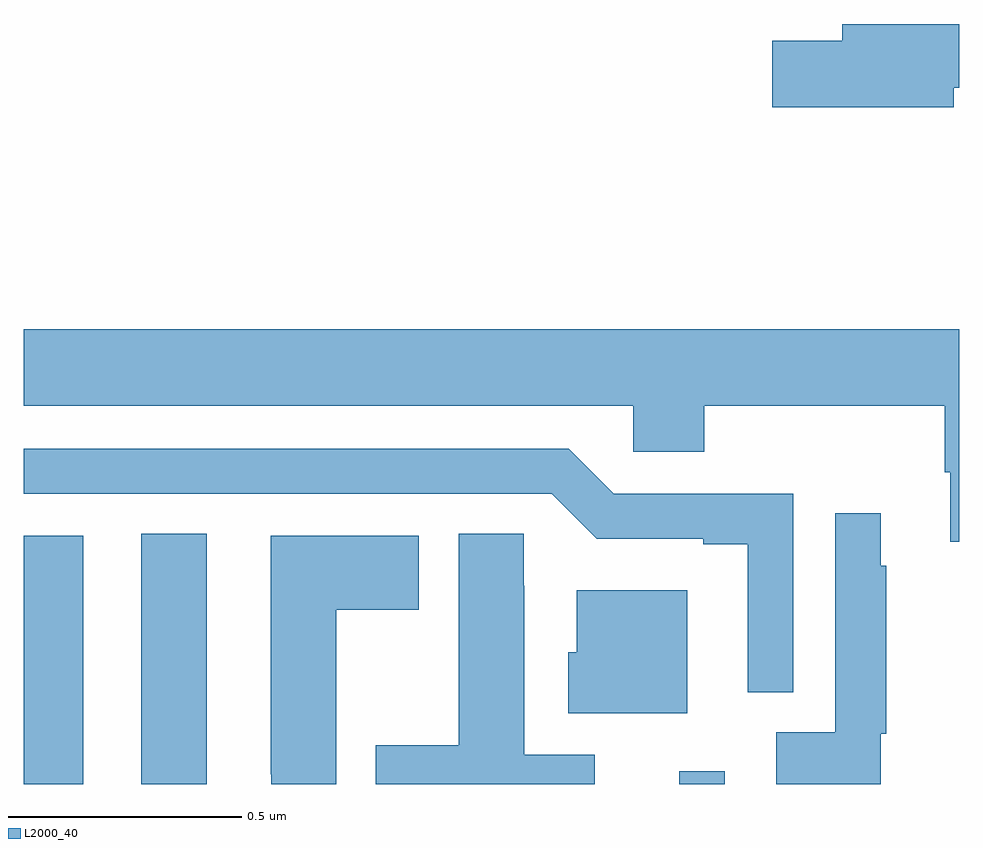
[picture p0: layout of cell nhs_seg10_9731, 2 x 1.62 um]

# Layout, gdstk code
import gdstk
lib = gdstk.Library(unit=1e-6, precision=1e-09)
def R(c, l, rs):  # rectangles x0, y0, x1, y1
    for r in rs: c.add(gdstk.rectangle(r[:2], r[2:], *l))
def P(c, l, *ps):  # polygons
    for p in ps: c.add(gdstk.Polygon(p, *l))
L2000_40 = (2000, 40)

nhs_seg10_9731 = lib.new_cell('nhs_seg10_9731')
R(nhs_seg10_9731, L2000_40, [(233,1307.5,233.128,1308.03), (233.252,1307.5,233.392,1308.035), (234.401,1307.5,234.498,1307.527)])
P(nhs_seg10_9731, L2000_40, [(234.988,1308.988),(235,1308.988),(235,1309.124),(234.749,1309.124),(234.749,1309.088),(234.6,1309.088),(234.6,1308.946),(234.988,1308.946)],
  [(235,1308.472),(233,1308.472),(233,1308.308),(234.303,1308.308),(234.303,1308.21),(234.455,1308.21),(234.455,1308.308),(234.968,1308.308),(234.968,1308.166),(234.98,1308.166),(234.98,1308.018),(235,1308.018)],
  [(234.645,1308.12),(234.261,1308.12),(234.165,1308.216),(233,1308.216),(233,1308.12),(234.129,1308.12),(234.225,1308.024),(234.452,1308.024),(234.452,1308.012),(234.548,1308.012),(234.548,1307.696),(234.645,1307.696)],
  [(234.832,1307.607),(234.844,1307.607),(234.844,1307.966),(234.832,1307.966),(234.832,1308.079),(234.735,1308.079),(234.735,1307.611),(234.608,1307.611),(234.608,1307.5),(234.832,1307.5)],
  [(234.221,1307.562),(234.07,1307.562),(234.07,1307.924),(234.069,1307.924),(234.069,1308.035),(233.93,1308.035),(233.93,1307.583),(233.753,1307.583),(233.753,1307.5),(234.221,1307.5)],
  [(233.668,1307.872),(233.845,1307.872),(233.845,1308.031),(233.528,1308.031),(233.528,1307.521),(233.529,1307.521),(233.529,1307.5),(233.668,1307.5)],
  [(234.418,1307.914),(234.182,1307.914),(234.182,1307.781),(234.164,1307.781),(234.164,1307.651),(234.418,1307.651)])

lib.write_gds('nhs_seg10_9731.gds')
